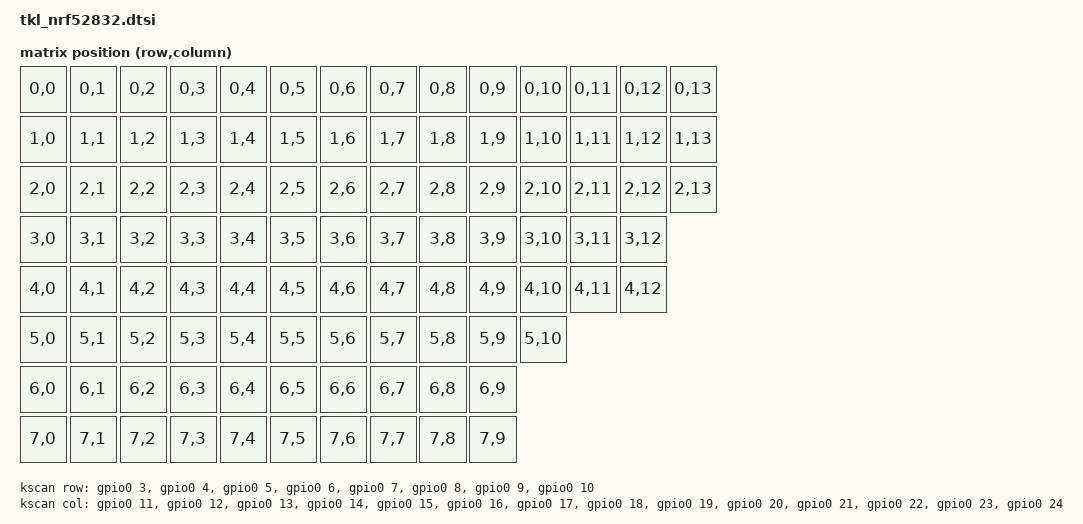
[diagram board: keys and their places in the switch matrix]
/* Custom TKL nRF52832 Keyboard with Azoteq Trackpad
 *
 * Matrix: 8 rows × 14 columns = 112 positions (99 keys defined)
 * GPIO: Uses P0.03-P0.24 (22 pins) for matrix
 * Peripherals: I2C (P0.26/27), Battery (P0.29), VBUS (P0.02), INT (P0.28), LED (P0.30)
 */

#include <dt-bindings/zmk/matrix_transform.h>

/ {
    chosen {
        zmk,kscan = &kscan;
        zmk,matrix_transform = &transform;
    };

    /* TKL Keyboard Matrix - 8x14 configuration
     * Optimized for nRF52832 QFAAB (32 GPIOs)
     * Rows: P0.03-P0.10 (8 pins)
     * Columns: P0.11-P0.24 (14 pins)
     */
    kscan: kscan {
        compatible = "zmk,kscan-gpio-matrix";
        label = "KSCAN";
        diode-direction = "col2row";

        /* ROW GPIO PINS */
        row-gpios =
            <&gpio0 3 GPIO_ACTIVE_HIGH>,   /* ROW0 */
            <&gpio0 4 GPIO_ACTIVE_HIGH>,   /* ROW1 */
            <&gpio0 5 GPIO_ACTIVE_HIGH>,   /* ROW2 */
            <&gpio0 6 GPIO_ACTIVE_HIGH>,   /* ROW3 */
            <&gpio0 7 GPIO_ACTIVE_HIGH>,   /* ROW4 */
            <&gpio0 8 GPIO_ACTIVE_HIGH>,   /* ROW5 */
            <&gpio0 9 GPIO_ACTIVE_HIGH>,   /* ROW6 */
            <&gpio0 10 GPIO_ACTIVE_HIGH>;  /* ROW7 */

        /* COLUMN GPIO PINS */
        col-gpios =
            <&gpio0 11 (GPIO_ACTIVE_HIGH | GPIO_PULL_DOWN)>,  /* COL0 */
            <&gpio0 12 (GPIO_ACTIVE_HIGH | GPIO_PULL_DOWN)>,  /* COL1 */
            <&gpio0 13 (GPIO_ACTIVE_HIGH | GPIO_PULL_DOWN)>,  /* COL2 */
            <&gpio0 14 (GPIO_ACTIVE_HIGH | GPIO_PULL_DOWN)>,  /* COL3 */
            <&gpio0 15 (GPIO_ACTIVE_HIGH | GPIO_PULL_DOWN)>,  /* COL4 */
            <&gpio0 16 (GPIO_ACTIVE_HIGH | GPIO_PULL_DOWN)>,  /* COL5 */
            <&gpio0 17 (GPIO_ACTIVE_HIGH | GPIO_PULL_DOWN)>,  /* COL6 */
            <&gpio0 18 (GPIO_ACTIVE_HIGH | GPIO_PULL_DOWN)>,  /* COL7 */
            <&gpio0 19 (GPIO_ACTIVE_HIGH | GPIO_PULL_DOWN)>,  /* COL8 */
            <&gpio0 20 (GPIO_ACTIVE_HIGH | GPIO_PULL_DOWN)>,  /* COL9 */
            <&gpio0 21 (GPIO_ACTIVE_HIGH | GPIO_PULL_DOWN)>,  /* COL10 */
            <&gpio0 22 (GPIO_ACTIVE_HIGH | GPIO_PULL_DOWN)>,  /* COL11 */
            <&gpio0 23 (GPIO_ACTIVE_HIGH | GPIO_PULL_DOWN)>,  /* COL12 */
            <&gpio0 24 (GPIO_ACTIVE_HIGH | GPIO_PULL_DOWN)>;  /* COL13 */
    };

    /* Matrix Transform - Maps physical keys to keymap positions
     * 8 rows × 14 columns = 112 positions
     * Maps 99 keys for TKL + Numpad layout
     */
    transform: matrix_transform {
        compatible = "zmk,matrix-transform";
        rows = <8>;
        columns = <14>;

        map = <
            /* Row 0: ESC, F1-F12, DEL */
            RC(0,0) RC(0,1) RC(0,2) RC(0,3) RC(0,4) RC(0,5) RC(0,6) RC(0,7) RC(0,8) RC(0,9) RC(0,10) RC(0,11) RC(0,12) RC(0,13)

            /* Row 1: Grave, 1-0, Minus, Equal, Backspace */
            RC(1,0) RC(1,1) RC(1,2) RC(1,3) RC(1,4) RC(1,5) RC(1,6) RC(1,7) RC(1,8) RC(1,9) RC(1,10) RC(1,11) RC(1,12) RC(1,13)

            /* Row 2: Tab, Q-P, [, ], \ */
            RC(2,0) RC(2,1) RC(2,2) RC(2,3) RC(2,4) RC(2,5) RC(2,6) RC(2,7) RC(2,8) RC(2,9) RC(2,10) RC(2,11) RC(2,12) RC(2,13)

            /* Row 3: Caps, A-L, ;, ', Enter */
            RC(3,0) RC(3,1) RC(3,2) RC(3,3) RC(3,4) RC(3,5) RC(3,6) RC(3,7) RC(3,8) RC(3,9) RC(3,10) RC(3,11) RC(3,12)

            /* Row 4: LShift, Z-M, ,, ., /, RShift, Up */
            RC(4,0) RC(4,1) RC(4,2) RC(4,3) RC(4,4) RC(4,5) RC(4,6) RC(4,7) RC(4,8) RC(4,9) RC(4,10) RC(4,11) RC(4,12)

            /* Row 5: LCtrl, LGUI, LAlt, Space, RAlt, RGUI, Menu, RCtrl, Left, Down, Right */
            RC(5,0) RC(5,1) RC(5,2) RC(5,3) RC(5,4) RC(5,5) RC(5,6) RC(5,7) RC(5,8) RC(5,9) RC(5,10)

            /* Row 6: NumLock, /, *, -, 7, 8, 9, +, Home, PgUp */
            RC(6,0) RC(6,1) RC(6,2) RC(6,3) RC(6,4) RC(6,5) RC(6,6) RC(6,7) RC(6,8) RC(6,9)

            /* Row 7: 0, ., =, 1, 2, 3, 4, Ins, End, PgDn */
            RC(7,0) RC(7,1) RC(7,2) RC(7,3) RC(7,4) RC(7,5) RC(7,6) RC(7,7) RC(7,8) RC(7,9)
        >;
    };
};

/* I2C for Trackpad/Sensors
 *
 * For nrf52dk board: I2C is pre-configured on P0.26 (SDA) / P0.27 (SCL)
 * The board definition already has pinctrl configured and i2c0 enabled.
 *
 * To add a pointing device, enable CONFIG_ZMK_POINTING in the .conf file
 * and add a device node under &i2c0:
 *
 * &i2c0 {
 *     // Supported Zephyr pointing devices:
 *     // - cirque,pinnacle-i2c (Cirque Pinnacle trackpad)
 *     // - pixart,pat912x (Optical navigation sensor)
 *     // - cypress,cy8cmbr3xxx (Cypress trackpad)
 *
 *     trackpad: trackpad@2a {
 *         compatible = "cirque,pinnacle-i2c";
 *         reg = <0x2a>;
 *         interrupt-gpios = <&gpio0 28 GPIO_ACTIVE_LOW>;
 *     };
 * };
 *
 * NOTE: Azoteq IQS550 requires a custom Zephyr driver since it's not
 * natively supported. Consider using Cirque Pinnacle or another supported device.
 */

/* Enable GPIO */
&gpio0 {
    status = "okay";
};
